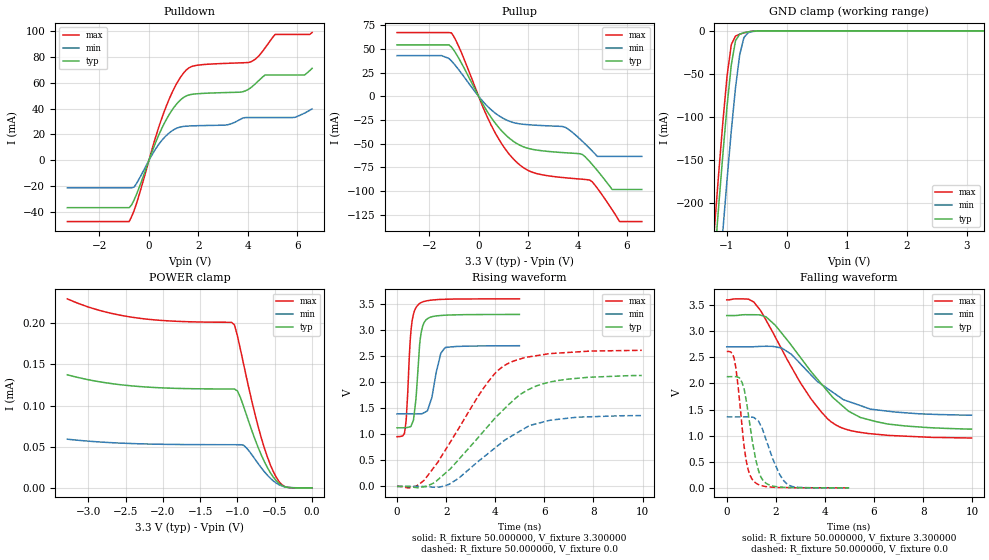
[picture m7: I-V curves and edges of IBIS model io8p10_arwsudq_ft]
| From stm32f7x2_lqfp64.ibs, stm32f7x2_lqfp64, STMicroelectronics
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|   Model io8p10_arwsudq_ft
[Model]  io8p10_arwsudq_ft
Model_type I/O
Polarity   Non-Inverting
Enable   Active-Low
Vinl =   0.990000V
Vinh =   2.310000V
Vmeas =  1.650000V
Cref =   40.000000pF
Rref =   100.000000M
Vref =   0.0V
C_comp   2.905500pF   2.826300pF   2.987900pF
[Temperature Range]   25.000000   0.125000k   -40.000000
[Pullup Reference]   3.300000V   2.700000V   3.600000V
[Pulldown Reference]   0.0V   0.0V   0.0V
[POWER Clamp Reference]   3.300000V   2.700000V   3.600000V
[GND Clamp Reference]   0.0V   0.0V   0.0V
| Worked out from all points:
|   slope of the pulldown table from 0 to 0.495 V, typ, clamps not added: 20.9 ohm
|   slope of the pullup table from 0 to 0.495 V, typ, clamps not added: 22.6 ohm
|   GND clamp passes 1 mA (typ) near -0.62 V on its own axis
|   rising waveform, R_fixture 50.000000, V_fixture 3.300000: 20-80 % time 215ps typ, 342ps min, 189ps max; typ from 1.12 V to 3.3 V
|   rising waveform, R_fixture 50.000000, V_fixture 0.0: 20-80 % time 2.52ns typ, 2.31ns min, 2.11ns max; typ from 0 V to 2.13 V
|   falling waveform, R_fixture 50.000000, V_fixture 3.300000: 20-80 % time 2.33ns typ, 2.09ns min, 2.04ns max; typ from 3.3 V to 1.12 V
|   falling waveform, R_fixture 50.000000, V_fixture 0.0: 20-80 % time 461ps typ, 655ps min, 370ps max; typ from 2.13 V to 0 V
[Pulldown]
|Voltage   I(typ)   I(min)   I(max)
-3.3V     -36.4mA    -21.08mA   -47.09mA
-800mV    -36.4mA    -21.08mA   -47.09mA
-600mV    -30.5mA    -20.54mA   -38.69mA
700mV     31.4mA     19.11mA    41.71mA
1.2V      45.15mA    25.37mA    61.75mA
1.6V      50.35mA    26.5mA     71.06mA
3.1V      52.28mA    27.26mA    74.76mA
4.1V      55.71mA    33.04mA    75.8mA
4.7V      65.81mA    33.04mA    86.69mA
5.1V      65.81mA    33.04mA    97.04mA
6.3V      65.87mA    36.5mA     97.04mA
6.6V      70.93mA    39.72mA    98.49mA
[Pullup]
|Voltage   I(typ)   I(min)   I(max)
-3.3V     54.25mA    42.91mA    67.2mA
-1.1V     52mA       37.31mA    66.91mA
500mV     -22.07mA   -14mA      -30.03mA
1.5V      -49.1mA    -28.3mA    -68.56mA
2.2V      -56.05mA   -30.32mA   -80.35mA
3.5V      -59.53mA   -32.66mA   -85.92mA
4.2V      -61.44mA   -47.49mA   -87.46mA
4.5V      -69.08mA   -55.13mA   -88.39mA
4.8V      -78.24mA   -63.4mA    -96.88mA
5.4V      -98.3mA    -63.4mA    -119.6mA
5.7V      -98.3mA    -63.4mA    -132.1mA
6.6V      -98.3mA    -63.4mA    -132.1mA
[GND_clamp]
|Voltage   I(typ)   I(min)   I(max)
-3.3V     -2.319A    -2.397A    -2.292A
-1.2V     -266mA     -356.2mA   -228.4mA
-1.13V    -203.2mA   -293mA     -165.3mA
-1.06V    -142.7mA   -231.3mA   -105.2mA
-990mV    -86.51mA   -171.7mA   -51.78mA
-920mV    -39.3mA    -115.7mA   -15.93mA
-850mV    -11.37mA   -65.76mA   -6.097mA
-780mV    -3.83mA    -27.55mA   -3.88mA
-710mV    -2.09mA    -7.747mA   -2.382mA
-640mV    -1.147mA   -2.129mA   -1.22mA
-570mV    -523.9uA   -800uA     -476.9uA
3.28V     0A         0A         0A
[POWER_clamp]
|Voltage   I(typ)   I(min)   I(max)
-3.28V    137.3uA    59.14uA    229.6uA
-2.36V    123.4uA    53.65uA    206.6uA
-1.08V    120.1uA    52.41uA    201.1uA
-1.04V    120uA      52.41uA    198uA
-1V       117.7uA    52.4uA     184.5uA
-920mV    99.46uA    51.91uA    151.2uA
-720mV    48.42uA    29.12uA    73.51uA
-600mV    24.82uA    15.47uA    37.72uA
-520mV    13.1uA     8.45uA     19.84uA
-440mV    5.058uA    3.61uA     7.276uA
-360mV    1.193uA    1.129uA    1.311uA
0V        0A         0A         0A
[Ramp]
| variable   typ   min   max
dV/dt_r  1.26708/2.51445n   0.81144/2.30948n   1.56461/2.11080n
dV/dt_f  1.28286/2.32002n   0.77634/2.07752n   1.57505/2.03651n
R_load = 50.000000
[Rising Waveform]
R_fixture= 50.000000
V_fixture= 3.300000
V_fixture_min= 2.700000
V_fixture_max= 3.600000
|time   V(typ)   V(min)   V(max)
0s        1.124V     1.392V     954.3mV
310.3ps   1.126V     1.392V     1.043V
380.4ps   1.128V     1.392V     1.331V
570.6ps   1.159V     1.392V     2.996V
670.7ps   1.272V     1.391V     3.306V
830.8ps   2.082V     1.392V     3.47V
981ps     2.944V     1.395V     3.527V
1.251ns   3.223V     1.469V     3.564V
1.962ns   3.285V     2.665V     3.591V
4.985ns   3.3V       2.7V       3.599V
[Rising Waveform]
R_fixture= 50.000000
V_fixture= 0.0
V_fixture_min= 0.0
V_fixture_max= 0.0
|time   V(typ)   V(min)   V(max)
0s        348.8uV    197.7uV    665.1uV
580.6ps   -7.684mV   200.6uV    -18.72mV
1.101ns   -5.304mV   -2.568mV   115.4mV
1.522ns   70.65mV    -16.65mV   376.5mV
2.142ns   324.6mV    46.06mV    829.7mV
3.664ns   1.132V     613.8mV    1.977V
4.505ns   1.55V      921mV      2.354V
5.285ns   1.842V     1.138V     2.48V
6.186ns   1.998V     1.264V     2.547V
9.97ns    2.129V     1.359V     2.612V
[Falling Waveform]
R_fixture= 50.000000
V_fixture= 3.300000
V_fixture_min= 2.700000
V_fixture_max= 3.600000
|time   V(typ)   V(min)   V(max)
0s        3.3V       2.7V       3.599V
900.9ps   3.315V     2.7V       3.609V
1.101ns   3.315V     2.702V     3.559V
1.602ns   3.273V     2.711V     3.209V
2.262ns   2.948V     2.671V     2.634V
3.423ns   2.233V     2.167V     1.71V
4.444ns   1.681V     1.789V     1.205V
4.965ns   1.467V     1.654V     1.107V
6.086ns   1.268V     1.494V     1.027V
9.97ns    1.124V     1.392V     954.3mV
[Falling Waveform]
R_fixture= 50.000000
V_fixture= 0.0
V_fixture_min= 0.0
V_fixture_max= 0.0
|time   V(typ)   V(min)   V(max)
0s        2.129V     1.359V     2.612V
300.3ps   2.13V      1.359V     2.483V
460.5ps   2.118V     1.358V     1.953V
620.6ps   2.022V     1.358V     1.192V
860.9ps   1.469V     1.36V      370.2mV
1.091ns   771mV      1.35V      133.6mV
1.481ns   142.1mV    1.09V      35.66mV
2.152ns   15.87mV    257.7mV    6.465mV
2.452ns   7.311mV    76.29mV    4.562mV
4.985ns   348.8uV    197.7uV    665.1uV
